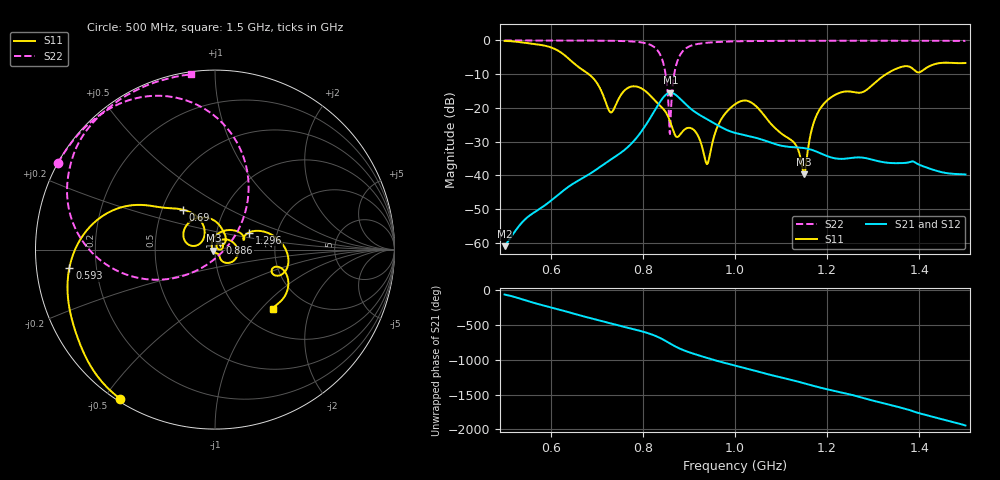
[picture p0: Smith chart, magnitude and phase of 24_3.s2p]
! TOUCHSTONE file generated by CST MICROWAVE STUDIO
! Date and time: Fri Oct 30 07:58:06 2020
! Project name: Scenario_1_Circular_Tissue_out_of_Line.cst
! Parameters = {dy1=52.843; L_HA=400; MT=2.54; Rad_Dielectric=30; Rad_Lower=7.3; Rad_Upper=30; a_HA=580; a_WG=246; b_HA=500; b_WG=121; c_HA=0; c_WG=187; d_feed=85; dx1=520; h_feed=15; h_lower=18; h_upper=40}
! Header version: 2018
! Port assignment regex: !\s*Touchstone port\s*([0-9]+)\s*=\s*(CST MWS port|CST DS port)\s*([0-9]+|Zmin|Zmax)\s*\(\"(.*)\"\)(\s*mode\s*([0-9]+))?.*
! Touchstone port assignment:
! Touchstone port 1 = CST MWS port 1 ("")
! Touchstone port 2 = CST MWS port 2 ("")
# GHz S DB R 50
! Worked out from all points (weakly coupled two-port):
!   1001 points, 500 MHz to 1.5 GHz, reference 50 ohm
!   highest |S21| = -15.51 dB at 860 MHz (marker M1); lowest = -61.0 dB at 500 MHz (marker M2)
!   lowest |S11| = -39.7 dB at 1.15 GHz (marker M3), VSWR 1.02, Z = 49.2 - j0.579 ohm
!   |S11| at or under -10 dB: 682.5 MHz to 1.328 GHz (645.5 MHz wide, 64.2 % of centre)
!   |S22| runs from -27.8 to 0.0 dB; largest |S21 - S12| = 4.1e-06
!   S11 on the Smith chart (normalised r, x): 500 MHz: 0.01, -0.55; 593 MHz: 0.10, -0.06; 690 MHz: 0.64, +0.31; 886 MHz: 1.05, +0.07; 1.296 GHz: 1.43, +0.29; 1.5 GHz: 1.38, -1.17
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0.5  -0.13 -122.5  -61.04 -60.9  -61.04 -60.9  -0.01 151.1
0.593  -1.75 -172.8  -48.35 127.1  -48.35 127.1  -0.02 144.7
0.667  -8.53 141.3  -41.03 -7.3  -41.03 -7.3  -0.04 138.4
0.69  -10.90 128.7  -39.13 -47.1  -39.13 -47.1  -0.06 136.0
0.73  -21.33 142.8  -35.39 -116.6  -35.39 -116.6  -0.11 130.9
0.777  -13.64 140.7  -30.36 165.7  -30.36 165.7  -0.31 121.2
0.834  -18.91 66.6  -18.94 44.5  -18.94 44.5  -3.36 84.3
0.86  -24.39 32.5  -15.51 -49.3  -15.51 -49.3  -24.07 -101.9
0.871  -28.32 39.2  -16.11 -89.9  -16.11 -89.9  -8.03 -155.1
0.886  -27.05 52.2  -18.01 -136.0  -18.01 -136.0  -3.30 -178.4
0.913  -26.88 15.2  -21.21 160.8  -21.21 160.8  -1.21 161.1
0.94  -36.65 38.3  -23.42 105.5  -23.42 105.5  -0.68 151.4
0.965  -24.67 60.8  -25.37 57.4  -25.37 57.4  -0.44 145.9
1  -18.94 17.3  -27.42 -2.4  -27.42 -2.4  -0.27 140.3
1.046  -19.56 -44.8  -28.91 -83.3  -28.91 -83.3  -0.18 134.9
1.129  -30.46 -54.1  -31.70 138.7  -31.70 138.7  -0.11 127.3
1.15  -39.71 -145.3  -31.94 101.7  -31.94 101.7  -0.11 125.6
1.167  -26.18 107.8  -32.48 70.5  -32.48 70.5  -0.10 124.3
1.207  -17.03 50.8  -34.65 4.9  -34.65 4.9  -0.08 121.1
1.296  -13.48 26.7  -35.31 -142.4  -35.31 -142.4  -0.08 114.4
1.334  -9.50 13.3  -36.33 154.7  -36.33 154.7  -0.08 111.5
1.5  -6.69 -45.8  -39.76 -145.5  -39.76 -145.5  -0.13 97.9
